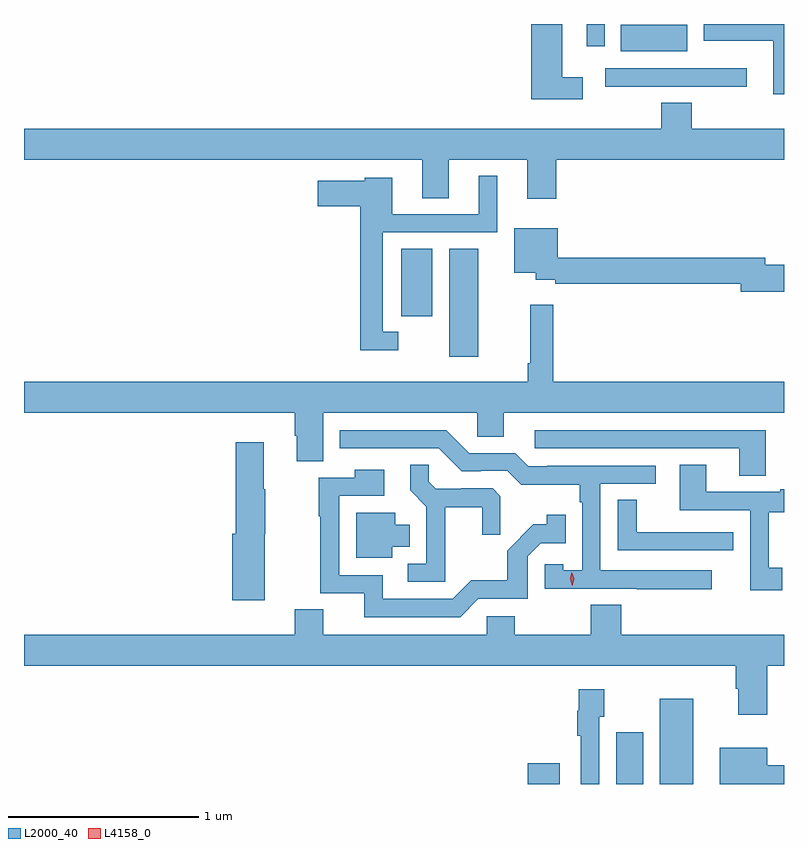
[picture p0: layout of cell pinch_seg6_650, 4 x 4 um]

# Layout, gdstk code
import gdstk
lib = gdstk.Library(unit=1e-6, precision=1e-09)
def R(c, l, rs):  # rectangles x0, y0, x1, y1
    for r in rs: c.add(gdstk.rectangle(r[:2], r[2:], *l))
def P(c, l, *ps):  # polygons
    for p in ps: c.add(gdstk.Polygon(p, *l))
L2000_40 = (2000, 40)
L4158_0 = (4158, 0)

pinch_seg6_650 = lib.new_cell('pinch_seg6_650')
R(pinch_seg6_650, L2000_40, [(388.664,920.074,388.834,920.182), (389.129,920.074,389.272,920.347), (389.36,920.074,389.536,920.524), (388.25,922.323,388.405,922.892), (387.998,922.536,388.162,922.892), (389.155,923.93,389.505,924.07), (388.974,923.958,389.07,924.074)])
P(pinch_seg6_650, L2000_40, [(388.954,923.795),(388.846,923.795),(388.846,924.074),(388.682,924.074),(388.682,923.678),(388.954,923.678)],
  [(390.013,924.074),(389.59,924.074),(389.59,923.987),(389.957,923.987),(389.957,923.703),(390.013,923.703)],
  [(389.818,923.842),(389.598,923.842),(389.598,923.841),(389.073,923.841),(389.073,923.745),(389.818,923.745)],
  [(388.814,923.36),(390.013,923.36),(390.013,923.524),(389.528,923.524),(389.528,923.66),(389.368,923.66),(389.368,923.524),(386.013,923.524),(386.013,923.36),(388.109,923.36),(388.109,923.158),(388.249,923.158),(388.249,923.36),(388.661,923.36),(388.661,923.154),(388.814,923.154)],
  [(387.982,922.455),(387.9,922.455),(387.9,922.977),(388.504,922.977),(388.504,923.275),(388.406,923.275),(388.406,923.073),(387.952,923.073),(387.952,923.266),(387.807,923.266),(387.807,923.248),(387.558,923.248),(387.558,923.114),(387.784,923.114),(387.784,922.358),(387.982,922.358)],
  [(390.013,922.808),(389.914,922.808),(389.914,922.844),(388.822,922.844),(388.822,922.999),(388.592,922.999),(388.592,922.766),(388.706,922.766),(388.706,922.727),(388.81,922.727),(388.81,922.708),(389.786,922.708),(389.786,922.666),(390.013,922.666)],
  [(387.589,922.028),(388.398,922.028),(388.398,921.901),(388.537,921.901),(388.537,922.028),(390.013,922.028),(390.013,922.192),(388.799,922.192),(388.799,922.597),(388.678,922.597),(388.678,922.288),(388.663,922.288),(388.663,922.192),(386.013,922.192),(386.013,922.028),(387.437,922.028),(387.437,921.906),(387.449,921.906),(387.449,921.772),(387.589,921.772)],
  [(389.632,921.198),(389.046,921.198),(389.046,921.654),(389.338,921.654),(389.338,921.75),(388.768,921.75),(388.768,921.747),(388.668,921.747),(388.599,921.816),(388.356,921.816),(388.236,921.936),(387.674,921.936),(387.674,921.84),(388.197,921.84),(388.317,921.72),(388.418,921.72),(388.418,921.723),(388.557,921.723),(388.63,921.65),(388.938,921.65),(388.938,921.557),(388.95,921.557),(388.95,921.199),(388.851,921.199),(388.851,921.231),(388.755,921.231),(388.755,921.102),(389.239,921.102),(389.239,921.1),(389.632,921.1)],
  [(389.917,921.936),(388.701,921.936),(388.701,921.84),(389.777,921.84),(389.777,921.697),(389.917,921.697)],
  [(387.28,921.39),(387.282,921.39),(387.282,921.626),(387.274,921.626),(387.274,921.874),(387.128,921.874),(387.128,921.39),(387.11,921.39),(387.11,921.042),(387.28,921.042)],
  [(390.004,921.213),(389.932,921.213),(389.932,921.504),(390.013,921.504),(390.013,921.625),(389.993,921.625),(389.993,921.612),(389.605,921.612),(389.605,921.755),(389.465,921.755),(389.465,921.516),(389.835,921.516),(389.835,921.093),(390.004,921.093)],
  [(388.229,921.53),(388.426,921.53),(388.426,921.387),(388.52,921.387),(388.52,921.589),(388.479,921.63),(388.314,921.63),(388.314,921.627),(388.18,921.627),(388.143,921.664),(388.143,921.755),(388.045,921.755),(388.045,921.619),(388.131,921.533),(388.131,921.234),(388.032,921.234),(388.032,921.138),(388.229,921.138)],
  [(388.404,921.048),(388.665,921.048),(388.665,921.273),(388.734,921.342),(388.865,921.342),(388.865,921.49),(388.764,921.49),(388.764,921.44),(388.694,921.44),(388.557,921.302),(388.557,921.147),(388.368,921.147),(388.269,921.048),(387.901,921.048),(387.901,921.174),(387.672,921.174),(387.672,921.591),(387.91,921.591),(387.91,921.727),(387.754,921.727),(387.754,921.687),(387.564,921.687),(387.564,921.484),(387.571,921.484),(387.571,921.078),(387.803,921.078),(387.803,920.952),(388.308,920.952)],
  [(389.746,921.398),(389.633,921.398),(389.633,921.399),(389.238,921.399),(389.238,921.569),(389.139,921.569),(389.139,921.303),(389.746,921.303)],
  [(387.952,921.323),(388.042,921.323),(388.042,921.439),(387.967,921.439),(387.967,921.502),(387.761,921.502),(387.761,921.266),(387.952,921.266)],
  [(389.924,920.696),(390.013,920.696),(390.013,920.86),(389.156,920.86),(389.156,921.017),(388.996,921.017),(388.996,920.86),(388.596,920.86),(388.596,920.958),(388.449,920.958),(388.449,920.86),(387.589,920.86),(387.589,920.993),(387.437,920.993),(387.437,920.86),(386.013,920.86),(386.013,920.696),(389.759,920.696),(389.759,920.576),(389.771,920.576),(389.771,920.439),(389.924,920.439)],
  [(389.04,920.427),(389.067,920.427),(389.067,920.572),(388.932,920.572),(388.932,920.459),(388.924,920.459),(388.924,920.327),(388.944,920.327),(388.944,920.074),(389.04,920.074)],
  [(390.013,920.173),(389.926,920.173),(389.926,920.266),(389.675,920.266),(389.675,920.074),(390.013,920.074)])
P(pinch_seg6_650, L4158_0, [(388.898,921.117),(388.898,921.117),(388.888,921.153),(388.897,921.189),(388.897,921.189),(388.897,921.189),(388.908,921.153),(388.899,921.117)])

lib.write_gds('pinch_seg6_650.gds')
